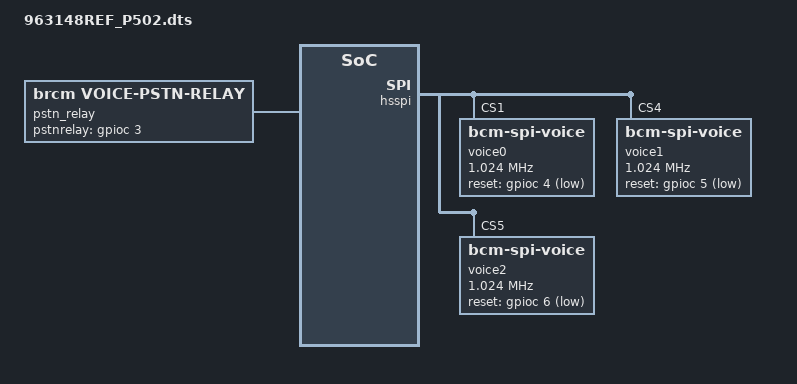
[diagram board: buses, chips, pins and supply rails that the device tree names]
#include "63148.dtsi"
#include "../bcm_voice.dtsi"
#include "963148REF_leds.dtsi"

/ {
    memory_controller {
        memcfg = <(BP_DDR_SPEED_800_11_11_11 | \
                   BP_DDR_TOTAL_SIZE_512MB  | \
                   BP_DDR_DEVICE_WIDTH_16)>;
    };

	buttons {
		compatible = "brcm,buttons";
		reset_button {
			ext_irq = <&bca_extintr 32 BCA_GPIO_ACTIVE_LOW (BCA_EXTINTR_TYPE_LOW_LEVEL | BCA_EXTINTR_TYPE_SENSE_LEVEL)>;
			press {
				print = "Button Press -- Hold for 5s to do restore to default";
			};
			hold {
				rst_to_dflt = <5>;
			};
			release {
				reset = <0>;
			};	
		};
		ses_button {
			ext_irq = <&bca_extintr 33 BCA_GPIO_ACTIVE_LOW (BCA_EXTINTR_TYPE_LOW_LEVEL | BCA_EXTINTR_TYPE_SENSE_LEVEL)>;
			release {
				ses_short_period = <0>;
				ses_long_period = <3>;
			};
		};
	};

	pstn_relay:pstn_relay {
		compatible = "brcm,voice-pstn-relay";
		pstnrelay-gpio = <&gpioc 3 GPIO_ACTIVE_HIGH>;
	};
};

&bcm_voice{
	sliclist = SLICSLAC_LIST_COMMON_FXO;
 };

&hsspi {
	status = "okay";
	voice0 {
		pinctrl-0 = <&a_spim_ss1_b_pin_127>;
		pinctrl-names = "default";
		compatible = "bcm-spi-voice";
		reg = <1>; /* chip select 1 */
		spi-max-frequency = <1024000>;
		reset-gpio = <&gpioc 4 GPIO_ACTIVE_LOW>;
		spi-index = <0>;/* voice header index */
	};
	voice1 {
		pinctrl-0 = <&spim_ss4_b_pin_8>;
		pinctrl-names = "default";
		compatible = "bcm-spi-voice";
		reg = <4>; /* chip select 2 */
		spi-max-frequency = <1024000>;
		reset-gpio = <&gpioc 5 GPIO_ACTIVE_LOW>;
		spi-index = <1>;/* voice header index */
	};
	voice2 {
		pinctrl-0 = <&spim_ss5_b_pin_7>;
		pinctrl-names = "default";
		compatible = "bcm-spi-voice";
		reg = <5>; /* chip select 2 */
		spi-max-frequency = <1024000>;
		reset-gpio = <&gpioc 6 GPIO_ACTIVE_LOW>;
		spi-index = <2>;/* voice header index */
	};
};

&mdio_sf2 {
	/* PHYs directly connected to SF2 */
	gphy8:8 {
		status = "okay";
	};
	gphy9:9 {
		status = "okay";
	};
	gphya:a {
		status = "okay";
	};
	gphyb:b {
		status = "okay";
	};

	/* PHYs connected to crossbar */
	gphyc:c {
		status = "okay";
	};
	phy_serdes0:serdes0 {
		status = "okay";
	};

	/* Crossbar groups */
	xbar_grp1:1 {
		phy-handle = <&gphyc &phy_serdes0>;
		status = "okay";
	};
};

&switch_sf2 {
	ports {
		sf2_port0@0 {
			network-leds = <&led0 &led1 &led10>;
			phy-handle = <&gphy8>;
			status = "okay";
		};

		sf2_port1@1 {
			network-leds = <&led2 &led3 &led11>;
			phy-handle = <&gphy9>;
			status = "okay";
		};

		sf2_port2@2 {
			network-leds = <&led4 &led5 &led12>;
			phy-handle = <&gphya>;
			status = "okay";
		};

		sf2_port3@3 {
			network-leds = <&led6 &led7 &led13>;
			phy-handle = <&gphyb>;
			status = "okay";
		};

	};
};

&switch0 {
	ports {
		
		port0@0 {
			network-leds = <&led20 &led21 &led22>;
			phy-handle = <&xbar_grp1>;
			phy-mode = "gmii";
			status = "okay";
		};
	};
};
